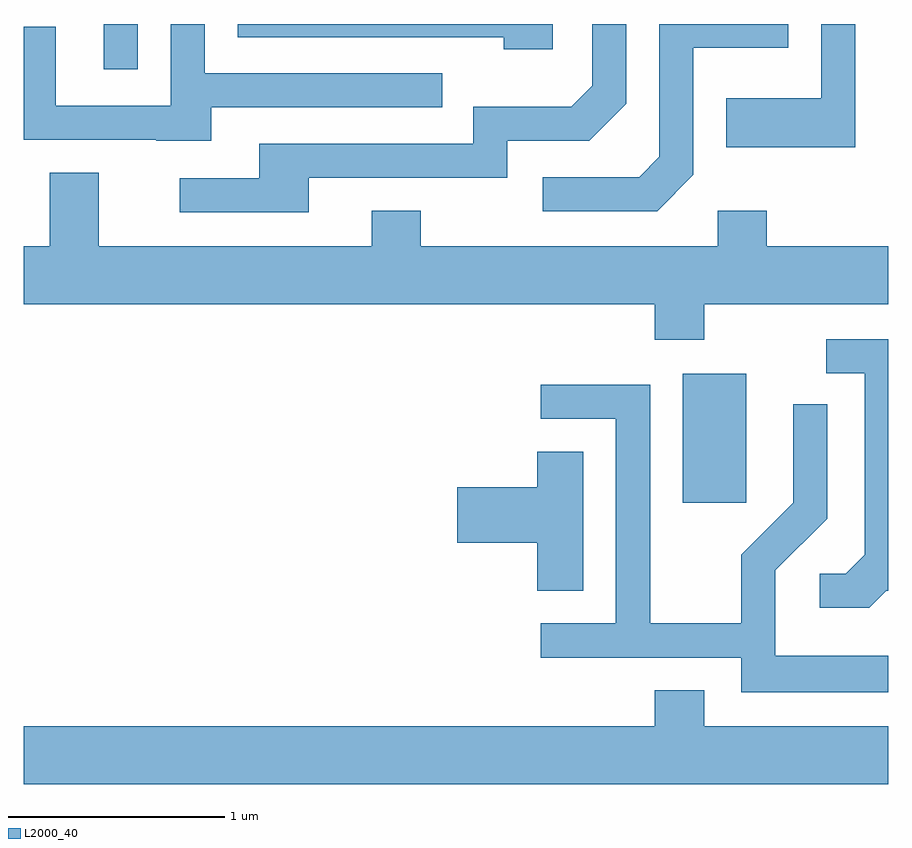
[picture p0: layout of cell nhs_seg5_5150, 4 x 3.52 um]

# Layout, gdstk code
import gdstk
lib = gdstk.Library(unit=1e-6, precision=1e-09)
def R(c, l, rs):  # rectangles x0, y0, x1, y1
    for r in rs: c.add(gdstk.rectangle(r[:2], r[2:], *l))
def P(c, l, *ps):  # polygons
    for p in ps: c.add(gdstk.Polygon(p, *l))
L2000_40 = (2000, 40)

nhs_seg5_5150 = lib.new_cell('nhs_seg5_5150')
R(nhs_seg5_5150, L2000_40, [(340.661,1475.856,340.954,1476.454), (337.981,1477.863,338.139,1478.072)])
P(nhs_seg5_5150, L2000_40, [(338.479,1477.686),(339.548,1477.686),(339.548,1477.844),(338.449,1477.844),(338.449,1478.072),(338.291,1478.072),(338.291,1477.694),(337.759,1477.694),(337.759,1478.059),(337.611,1478.059),(337.611,1477.536),(338.225,1477.536),(338.225,1477.531),(338.479,1477.531)],
  [(338.929,1477.361),(339.849,1477.361),(339.849,1477.531),(340.227,1477.531),(340.399,1477.704),(340.399,1478.072),(340.241,1478.072),(340.241,1477.787),(340.144,1477.689),(339.691,1477.689),(339.691,1477.519),(338.701,1477.519),(338.701,1477.359),(338.333,1477.359),(338.333,1477.201),(338.929,1477.201)],
  [(340.059,1478.072),(338.601,1478.072),(338.601,1478.011),(339.831,1478.011),(339.831,1477.956),(340.059,1477.956)],
  [(340.709,1477.374),(340.709,1477.961),(341.149,1477.961),(341.149,1478.072),(340.551,1478.072),(340.551,1477.457),(340.459,1477.364),(340.013,1477.364),(340.013,1477.206),(340.542,1477.206)],
  [(341.459,1478.072),(341.301,1478.072),(341.301,1477.729),(340.861,1477.729),(340.861,1477.501),(341.459,1477.501)],
  [(339.449,1477.209),(339.221,1477.209),(339.221,1477.044),(337.959,1477.044),(337.959,1477.384),(337.731,1477.384),(337.731,1477.044),(337.611,1477.044),(337.611,1476.776),(340.531,1476.776),(340.531,1476.611),(340.759,1476.611),(340.759,1476.776),(341.611,1476.776),(341.611,1477.044),(341.049,1477.044),(341.049,1477.209),(340.821,1477.209),(340.821,1477.044),(339.449,1477.044)],
  [(341.602,1475.451),(341.611,1475.451),(341.611,1476.614),(341.323,1476.614),(341.323,1476.456),(341.501,1476.456),(341.501,1475.617),(341.414,1475.529),(341.293,1475.529),(341.293,1475.371),(341.522,1475.371)],
  [(341.611,1475.149),(341.089,1475.149),(341.089,1475.544),(341.329,1475.784),(341.329,1476.313),(341.171,1476.313),(341.171,1475.857),(340.931,1475.617),(340.931,1475.299),(340.509,1475.299),(340.509,1476.404),(340.003,1476.404),(340.003,1476.246),(340.351,1476.246),(340.351,1475.299),(340.003,1475.299),(340.003,1475.141),(340.931,1475.141),(340.931,1474.981),(341.611,1474.981)],
  [(340.199,1476.094),(339.986,1476.094),(339.986,1475.929),(339.616,1475.929),(339.616,1475.671),(339.986,1475.671),(339.986,1475.451),(340.199,1475.451)],
  [(341.611,1474.824),(340.759,1474.824),(340.759,1474.989),(340.531,1474.989),(340.531,1474.824),(337.611,1474.824),(337.611,1474.556),(341.611,1474.556)])

lib.write_gds('nhs_seg5_5150.gds')
